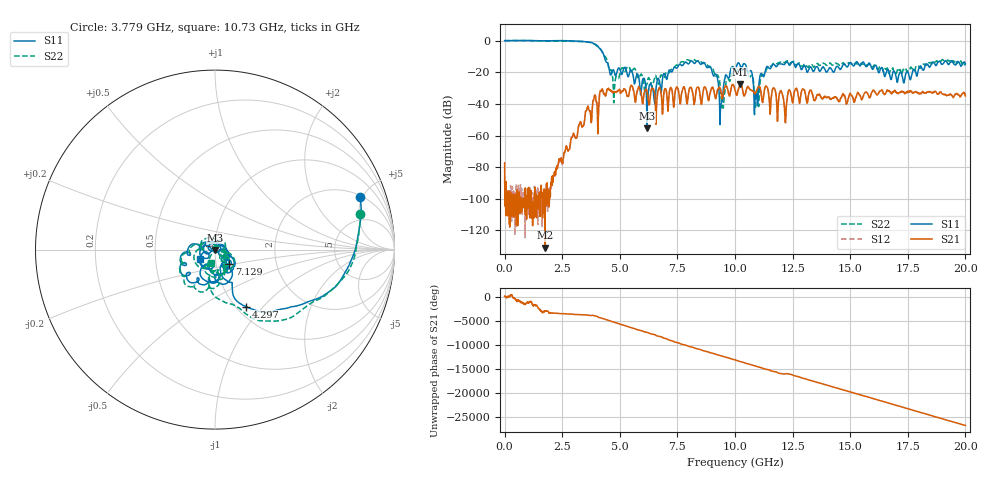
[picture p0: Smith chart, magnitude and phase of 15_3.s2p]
#  HZ  S  RI  R  50.00
! Rohde & Schwarz Vector Network Analyzer
! Rohde-Schwarz,ZNB20-2Port,1311601062102128,3.60
! Created: UTC 4/29/2024, 2:57:48 PM
! freq[Hz]  re:S11  im:S11  re:S21  im:S21  re:S12  im:S12  re:S22  im:S22
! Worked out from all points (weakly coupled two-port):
!   2007 points, 100 kHz to 20 GHz, reference 50 ohm
!   highest |S21| = -27.66 dB at 10.23 GHz (marker M1); lowest = -130.8 dB at 1.755 GHz (marker M2)
!   lowest |S11| = -55.4 dB at 6.182 GHz (marker M3), VSWR 1.00, Z = 50 - j0.165 ohm
!   |S11| at or under -10 dB: 4.326 GHz to end of sweep
!   |S22| runs from -43.2 to 0.1 dB; largest |S21 - S12| = 0.0021
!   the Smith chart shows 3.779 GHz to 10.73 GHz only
!   S11 on the Smith chart (normalised r, x): 3.779 GHz: 2.08, +4.77; 4.297 GHz: 1.11, -0.81; 7.129 GHz: 1.15, -0.19; 10.73 GHz: 0.84, -0.09
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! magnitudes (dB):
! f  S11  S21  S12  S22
! 100 kHz  0.0  -77.2  -87.6  0.1
! 1.755 GHz  -0.1  -130.8  -98.6  -0.2
! 3.34 GHz  -0.6  -53.8  -53.5  -0.6
! 3.779 GHz  -1.3  -49.9  -50.1  -1.6
! 4.297 GHz  -8.8  -33.6  -33.8  -9.0
! 4.776 GHz  -20.7  -32.3  -32.3  -28.7
! 5.354 GHz  -22.8  -35.2  -35.1  -16.3
! 6.182 GHz  -55.4  -32.2  -32.1  -27.3
! 6.67 GHz  -23.9  -31.3  -31.3  -27.2
! 7.129 GHz  -19.0  -35.6  -35.7  -20.5
! 8.644 GHz  -13.9  -30.2  -30.1  -14.3
! 9.183 GHz  -21.4  -35.6  -35.6  -22.5
! 9.392 GHz  -40.3  -32.8  -32.7  -34.2
! 10 GHz  -18.7  -31.2  -31.3  -19.4
! 10.23 GHz  -15.9  -27.7  -27.6  -16.8
! 10.73 GHz  -20.1  -31.4  -31.4  -22.3
! 10.92 GHz  -33.5  -32.4  -32.4  -34.2
! 11.42 GHz  -16.4  -30.2  -30.2  -16.8
! 12.17 GHz  -14.6  -49.3  -49.6  -13.9
! 13.34 GHz  -18.0  -32.8  -32.7  -15.2
! 16.67 GHz  -19.0  -31.7  -31.8  -20.5
! 20 GHz  -14.6  -34.9  -34.9  -14.4
